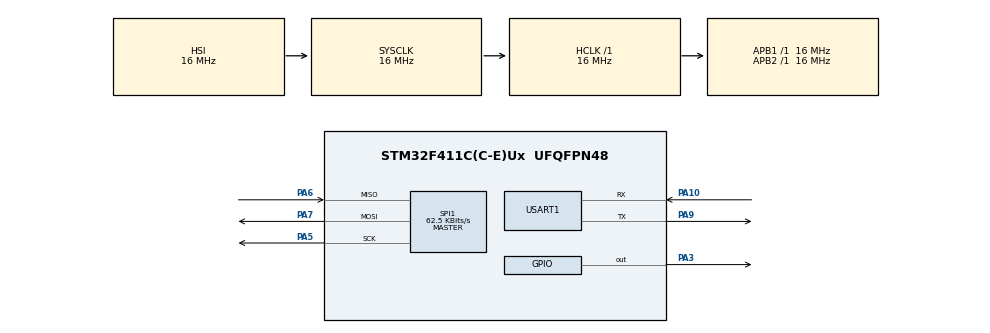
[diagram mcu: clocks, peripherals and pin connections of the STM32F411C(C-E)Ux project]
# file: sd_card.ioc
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FATFS._MAX_SS=4096
Mcu.Family=STM32F4
Mcu.Name=STM32F411C(C-E)Ux
Mcu.Package=UFQFPN48
NVIC.PriorityGroup=NVIC_PRIORITYGROUP_4
PA10.Mode=Asynchronous
PA10.Signal=USART1_RX
PA3.GPIO_PuPd=GPIO_PULLUP
PA3.Signal=GPIO_Output
PA5.GPIO_PuPd=GPIO_PULLUP
PA5.Mode=Full_Duplex_Master
PA5.Signal=SPI1_SCK
PA6.GPIO_PuPd=GPIO_PULLUP
PA6.Mode=Full_Duplex_Master
PA6.Signal=SPI1_MISO
PA7.GPIO_PuPd=GPIO_PULLUP
PA7.Mode=Full_Duplex_Master
PA7.Signal=SPI1_MOSI
PA9.Mode=Asynchronous
PA9.Signal=USART1_TX
ProjectManager.HeapSize=0x200
ProjectManager.StackSize=0x400
ProjectManager.TargetToolchain=STM32CubeIDE
RCC.AHBFreq_Value=16000000
RCC.APB1Freq_Value=16000000
RCC.APB1TimFreq_Value=16000000
RCC.APB2Freq_Value=16000000
RCC.APB2TimFreq_Value=16000000
RCC.CortexFreq_Value=16000000
RCC.HCLKFreq_Value=16000000
RCC.HSE_VALUE=25000000
RCC.HSI_VALUE=16000000
RCC.LSE_VALUE=32768
RCC.SYSCLKFreq_VALUE=16000000
RCC.VCOOutputFreq_Value=192000000
SPI1.BaudRatePrescaler=SPI_BAUDRATEPRESCALER_256
SPI1.CalculateBaudRate=62.5 KBits/s
SPI1.Direction=SPI_DIRECTION_2LINES
SPI1.Mode=SPI_MODE_MASTER
SPI1.VirtualType=VM_MASTER
USART1.VirtualMode=VM_ASYNC
VP_FATFS_VS_Generic.Mode=User_defined
board=custom

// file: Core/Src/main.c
/* USER CODE BEGIN Header */
/**
  ******************************************************************************
  * @file           : main.c
  * @brief          : Main program body
  ******************************************************************************
  * @attention
  *
  * Copyright (c) 2025 STMicroelectronics.
  * All rights reserved.
  *
  * This software is licensed under terms that can be found in the LICENSE file
  * in the root directory of this software component.
  * If no LICENSE file comes with this software, it is provided AS-IS.
  *
  ******************************************************************************
  */
/* USER CODE END Header */
#include "main.h"
#include "fatfs.h"
#include "string.h"
#include "sd_spi.h"

SPI_HandleTypeDef hspi1;

UART_HandleTypeDef huart1;

void SystemClock_Config(void);
static void MX_GPIO_Init(void);
static void MX_SPI1_Init(void);
static void MX_USART1_UART_Init(void);

/* USER CODE BEGIN 0 */
#define CMD0 0 // GO_IDLE_STATE
#define CMD8 8 // SEND_IF_COND (check voltage range)
#define CMD17 17 // READ_SINGLE_BLOCK
#define CMD24 24 // WRITE_SINGLE_BLOCK
#define CMD55 55 // APP_CMD (prefix for ACMD)
#define CMD58 58 // READ_OCR
#define ACMD41 41 // SD_SEND_OP_COND (ACMD)

#define R1_IDLE_STATE 0x01
#define DATA_START_TOKEN 0xFE

#define SD_INIT_TIMEOUT 1000
#define SD_CMD_TIMEOUT 100
static uint8_t SD_Type = 0;

static void sd_clock_train(void) {
SD_CS_HIGH();
for (int i = 0; i < 10; i++) {
sd_spi_xfer(0xFF);
}
}

static int sd_wait_ready(uint32_t timeout) {
uint8_t r;
do {
r = sd_spi_xfer(0xFF);
if (r == 0xFF) return 1; // ready
timeout--;
} while (timeout);

return 0; // timeout
}
static uint8_t sd_send_cmd(uint8_t cmd, uint32_t arg) {
uint8_t crc = 0x01; // default CRC (only required for CMD0 and CMD8 in SPI

uint8_t res;
// make sure card is ready
sd_wait_ready(SD_CMD_TIMEOUT);
sd_spi_xfer(0x40 | cmd);
  sd_spi_xfer((uint8_t)(arg >> 24));
  sd_spi_xfer((uint8_t)(arg >> 16));
  sd_spi_xfer((uint8_t)(arg >> 8));
  sd_spi_xfer((uint8_t)(arg));
  // CRC for specific commands
  if (cmd == CMD0)
	  crc = 0x95; // valid CRC for CMD0
  if (cmd == CMD8)
	  crc = 0x87; // valid CRC for CMD8 when arg == 0x1AA
  sd_spi_xfer(crc);
  // Response: up to 8 bytes until MSB is zero
  for (int i = 0; i < 8; i++) {
  res = sd_spi_xfer(0xFF);
  if (!(res & 0x80)) break; // valid response (MSB cleared)
  }
  return res; // R1 response
  }
static int sd_card_init(void) {
uint8_t r;
uint32_t timer = SD_INIT_TIMEOUT;
sd_clock_train(); // send idle clocks
SD_CS_LOW(); // select card for command
// CMD0: reset card
r = sd_send_cmd(CMD0, 0);
if (r != R1_IDLE_STATE) {
SD_CS_HIGH();
return 0; // failed to enter idle
}
r = sd_send_cmd(CMD8, 0x1AA);
if (r == R1_IDLE_STATE) {
// card supports CMD8 -> SDv2
// read remaining 4 bytes of R7 response
uint8_t resp[4];
for (int i = 0; i < 4; i++) resp[i] = sd_spi_xfer(0xFF);
if (resp[2] == 0x01 && resp[3] == 0xAA) {
// now send ACMD41 with HCS bit until card leaves idle
do {
sd_send_cmd(CMD55, 0);
r = sd_send_cmd(ACMD41, 0x40000000); // HCS = 1
timer--;
} while (r && timer);
if (timer == 0) { SD_CS_HIGH(); return 0; }
// Read OCR with CMD58 to see if it's SDHC/SDXC
r = sd_send_cmd(CMD58, 0);
if (r != 0x00) {
	SD_CS_HIGH();
	return 0;
}
uint8_t ocr[4];
for (int i = 0; i < 4; i++) ocr[i] = sd_spi_xfer(0xFF);
if (ocr[0] & 0x40) SD_Type = 2; else SD_Type = 1;

SD_CS_HIGH();
return 1; // success
}
} else {
// Might be SD v1 or MMC — attempt ACMD41 without HCS
do {
sd_send_cmd(CMD55, 0);
r = sd_send_cmd(ACMD41, 0);
timer--;
} while (r && timer);
if (timer == 0) { SD_CS_HIGH(); return 0; }
SD_Type = 1; // treat as SDSC
SD_CS_HIGH();
return 1;
}
SD_CS_HIGH();
return 0;
}
static int sd_read_sector(uint8_t* buff, uint32_t sector) {
uint8_t token;
if (SD_Type != 2) {
// Convert to byte address for SDSC cards
sector <<= 9;
}
}
/* USER CODE END 0 */

int main(void)
{

  /* MCU Configuration--------------------------------------------------------*/

  /* Reset of all peripherals, Initializes the Flash interface and the Systick. */
  HAL_Init();

  /* Configure the system clock */
  SystemClock_Config();

  /* Initialize all configured peripherals */
  MX_GPIO_Init();
  MX_SPI1_Init();
  MX_USART1_UART_Init();
  MX_FATFS_Init();

  /* Infinite loop */
  while (1)
  {

  }
}

void SystemClock_Config(void)
{
  RCC_OscInitTypeDef RCC_OscInitStruct = {0};
  RCC_ClkInitTypeDef RCC_ClkInitStruct = {0};

  /** Configure the main internal regulator output voltage
  */
  __HAL_RCC_PWR_CLK_ENABLE();
  __HAL_PWR_VOLTAGESCALING_CONFIG(PWR_REGULATOR_VOLTAGE_SCALE1);

  /** Initializes the RCC Oscillators according to the specified parameters
  * in the RCC_OscInitTypeDef structure.
  */
  RCC_OscInitStruct.OscillatorType = RCC_OSCILLATORTYPE_HSI;
  RCC_OscInitStruct.HSIState = RCC_HSI_ON;
  RCC_OscInitStruct.HSICalibrationValue = RCC_HSICALIBRATION_DEFAULT;
  RCC_OscInitStruct.PLL.PLLState = RCC_PLL_NONE;
  if (HAL_RCC_OscConfig(&RCC_OscInitStruct) != HAL_OK)
  {
    Error_Handler();
  }

  /** Initializes the CPU, AHB and APB buses clocks
  */
  RCC_ClkInitStruct.ClockType = RCC_CLOCKTYPE_HCLK|RCC_CLOCKTYPE_SYSCLK
                              |RCC_CLOCKTYPE_PCLK1|RCC_CLOCKTYPE_PCLK2;
  RCC_ClkInitStruct.SYSCLKSource = RCC_SYSCLKSOURCE_HSI;
  RCC_ClkInitStruct.AHBCLKDivider = RCC_SYSCLK_DIV1;
  RCC_ClkInitStruct.APB1CLKDivider = RCC_HCLK_DIV1;
  RCC_ClkInitStruct.APB2CLKDivider = RCC_HCLK_DIV1;

  if (HAL_RCC_ClockConfig(&RCC_ClkInitStruct, FLASH_LATENCY_0) != HAL_OK)
  {
    Error_Handler();
  }
}

static void MX_SPI1_Init(void)
{

  /* SPI1 parameter configuration*/
  hspi1.Instance = SPI1;
  hspi1.Init.Mode = SPI_MODE_MASTER;
  hspi1.Init.Direction = SPI_DIRECTION_2LINES;
  hspi1.Init.DataSize = SPI_DATASIZE_8BIT;
  hspi1.Init.CLKPolarity = SPI_POLARITY_LOW;
  hspi1.Init.CLKPhase = SPI_PHASE_1EDGE;
  hspi1.Init.NSS = SPI_NSS_SOFT;
  hspi1.Init.BaudRatePrescaler = SPI_BAUDRATEPRESCALER_256;
  hspi1.Init.FirstBit = SPI_FIRSTBIT_MSB;
  hspi1.Init.TIMode = SPI_TIMODE_DISABLE;
  hspi1.Init.CRCCalculation = SPI_CRCCALCULATION_DISABLE;
  hspi1.Init.CRCPolynomial = 10;
  if (HAL_SPI_Init(&hspi1) != HAL_OK)
  {
    Error_Handler();
  }

}

static void MX_USART1_UART_Init(void)
{

  huart1.Instance = USART1;
  huart1.Init.BaudRate = 115200;
  huart1.Init.WordLength = UART_WORDLENGTH_8B;
  huart1.Init.StopBits = UART_STOPBITS_1;
  huart1.Init.Parity = UART_PARITY_NONE;
  huart1.Init.Mode = UART_MODE_TX_RX;
  huart1.Init.HwFlowCtl = UART_HWCONTROL_NONE;
  huart1.Init.OverSampling = UART_OVERSAMPLING_16;
  if (HAL_UART_Init(&huart1) != HAL_OK)
  {
    Error_Handler();
  }

}

static void MX_GPIO_Init(void)
{
  GPIO_InitTypeDef GPIO_InitStruct = {0};

  /* GPIO Ports Clock Enable */
  __HAL_RCC_GPIOA_CLK_ENABLE();

  /*Configure GPIO pin Output Level */
  HAL_GPIO_WritePin(GPIOA, GPIO_PIN_3, GPIO_PIN_RESET);

  /*Configure GPIO pin : PA3 */
  GPIO_InitStruct.Pin = GPIO_PIN_3;
  GPIO_InitStruct.Mode = GPIO_MODE_OUTPUT_PP;
  GPIO_InitStruct.Pull = GPIO_PULLUP;
  GPIO_InitStruct.Speed = GPIO_SPEED_FREQ_LOW;
  HAL_GPIO_Init(GPIOA, &GPIO_InitStruct);

}

void Error_Handler(void)
{
  __disable_irq();
  while (1)
  {
  }
}
